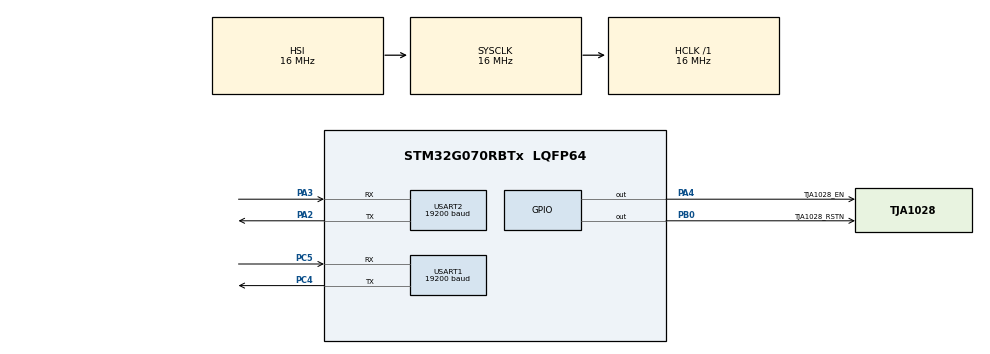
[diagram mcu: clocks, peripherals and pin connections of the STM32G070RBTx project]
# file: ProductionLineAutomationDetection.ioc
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Mcu.Family=STM32G0
Mcu.Name=STM32G070RBTx
Mcu.Package=LQFP64
NVIC.USART1_IRQn=true\:0\:0\:false\:false\:true\:true\:true\:true
NVIC.USART2_IRQn=true\:0\:0\:false\:false\:true\:true\:true\:true
PA13.Mode=Serial_Wire
PA13.Signal=SYS_SWDIO
PA14-BOOT0.Mode=Serial_Wire
PA14-BOOT0.Signal=SYS_SWCLK
PA2.Mode=LIN
PA2.Signal=USART2_TX
PA3.Mode=LIN
PA3.Signal=USART2_RX
PA4.GPIO_Label=TJA1028_EN
PA4.Signal=GPIO_Output
PB0.GPIO_Label=TJA1028_RSTN
PB0.Signal=GPIO_Output
PC4.Mode=Asynchronous
PC4.Signal=USART1_TX
PC5.Mode=Asynchronous
PC5.Signal=USART1_RX
ProjectManager.HeapSize=0x200
ProjectManager.StackSize=0x400
ProjectManager.TargetToolchain=STM32CubeIDE
RCC.AHBFreq_Value=16000000
RCC.CortexFreq_Value=16000000
RCC.EXTERNAL_CLOCK_VALUE=48000
RCC.HCLKFreq_Value=16000000
RCC.HSE_VALUE=8000000
RCC.HSI_VALUE=16000000
RCC.LSE_VALUE=32768
RCC.SYSCLKFreq_VALUE=16000000
RCC.VCOOutputFreq_Value=128000000
USART1.BaudRate=19200
USART1.VirtualMode-Asynchronous=VM_ASYNC
USART2.BaudRate=19200
USART2.VirtualMode-LIN=VM_LIN
VP_SYS_VS_DBSignals.Mode=DisableDeadBatterySignals
board=custom

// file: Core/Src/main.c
/* USER CODE BEGIN Header */
/**
  ******************************************************************************
  * @file           : main.c
  * @brief          : Main program body
  ******************************************************************************
  * @attention
  *
  * Copyright (c) 2023 STMicroelectronics.
  * All rights reserved.
  *
  * This software is licensed under terms that can be found in the LICENSE file
  * in the root directory of this software component.
  * If no LICENSE file comes with this software, it is provided AS-IS.
  *
  ******************************************************************************
  */
/* USER CODE END Header */
#include "main.h"
#include "usart.h"
#include "gpio.h"

/* USER CODE BEGIN Includes */
#include "lin_usart2.h"
#include "rs232_usart1.h"
#include <string.h>
/* USER CODE END Includes */

/* USER CODE BEGIN PV */
uint8_t LINRevByte = 0;
uint8_t pLINRevByte = 0;
uint8_t LINRxFlag = 0;
uint8_t LINRxLength = 0;
uint8_t RS232RevByte = 0;
uint8_t pRS232RevByte = 0;
uint8_t RS232RxFlag = 0;
uint8_t RS232RxLength = 0;
/* USER CODE END PV */

void SystemClock_Config(void);
/* USER CODE BEGIN PFP */
#ifdef __GNUC__
#define PUTCHAR_PROTOTYPE int __io_putchar(int ch)
#else
#define PUTCHAR_PROTOTYPE int fputc(int ch, FILE *f)
#endif

PUTCHAR_PROTOTYPE
{
  HAL_UART_Transmit(&huart1, (uint8_t *)&ch, 1, HAL_MAX_DELAY);
  return ch;
}
/* USER CODE END PFP */

int main(void)
{

  /* MCU Configuration--------------------------------------------------------*/

  /* Reset of all peripherals, Initializes the Flash interface and the Systick. */
  HAL_Init();

  /* Configure the system clock */
  SystemClock_Config();

  /* USER CODE BEGIN SysInit */
    //解决断电后重新上电，程序运行异常的问题
    //原因：在程序刚开始时加上一个延时，因为外设上电时间不够，所以加个延时，等待外设上电，再进行初始化
//    HAL_Delay(700);
  /* USER CODE END SysInit */

  /* Initialize all configured peripherals */
  MX_GPIO_Init();
  MX_USART1_UART_Init();
  MX_USART2_UART_Init();
  /* USER CODE BEGIN 2 */
  //清除串口空闲中断
  __HAL_UART_CLEAR_IDLEFLAG(&huart1);
  //打开串口空闲中断
  __HAL_UART_ENABLE_IT(&huart1,UART_IT_IDLE);
  //开启中断接收
  Util_Receive_IT(&huart1);
  //一定要先清除串口空闲中断，然后在打开串口空闲中断，因为串口初始化完成后会自动将IDLE置位，
  // 导致还没有接受数据就进入到中断里面去了，所以打开IDLE之前，先把它清楚掉
  //清除串口空闲中断
  __HAL_UART_CLEAR_IDLEFLAG(&huart2);
  //打开串口空闲中断
  __HAL_UART_ENABLE_IT(&huart2,UART_IT_IDLE);
  Util_Receive_IT(&huart2);
  //使能TJA1028LIN芯片的EN
  HAL_GPIO_WritePin(TJA1028_EN_GPIO_Port,TJA1028_EN_Pin,GPIO_PIN_SET);
  //使能TJA1028LIN芯片的RSTN
  HAL_GPIO_WritePin(TJA1028_RSTN_GPIO_Port,TJA1028_RSTN_Pin,GPIO_PIN_SET);

  //测试
//  pRS232RxBuff[0] = 0x00;
//  pRS232RxBuff[1] = 0x01;
//  pRS232RxBuff[2] = 0x4a;
//  RS232_To_LIN(pRS232RxBuff);
  //测试 end

  /* USER CODE END 2 */

  /* Infinite loop */
  while (1)
  {
      //循环发送数据
      Send_LIN_Data();
      if (LINRxFlag)
      {
          LIN_Data_Process(LINRxLength);
          LINRxFlag = 0;
      }
      if (RS232RxFlag && RS232RxLength == RS232_MAXSIZE && pRS232RxBuff[RS232_MAXSIZE - 1] == 0x0D)
      {
          HAL_UART_Transmit(&huart1, pRS232RxBuff, RS232_MAXSIZE, HAL_MAX_DELAY);
          RS232_To_LIN(pRS232RxBuff);
          memset(pRS232RxBuff,0,RS232_MAXSIZE);
          RS232RxFlag = 0;
      }
  }
}

void SystemClock_Config(void)
{
  RCC_OscInitTypeDef RCC_OscInitStruct = {0};
  RCC_ClkInitTypeDef RCC_ClkInitStruct = {0};

  /** Configure the main internal regulator output voltage
  */
  HAL_PWREx_ControlVoltageScaling(PWR_REGULATOR_VOLTAGE_SCALE1);

  /** Initializes the RCC Oscillators according to the specified parameters
  * in the RCC_OscInitTypeDef structure.
  */
  RCC_OscInitStruct.OscillatorType = RCC_OSCILLATORTYPE_HSI;
  RCC_OscInitStruct.HSIState = RCC_HSI_ON;
  RCC_OscInitStruct.HSIDiv = RCC_HSI_DIV1;
  RCC_OscInitStruct.HSICalibrationValue = RCC_HSICALIBRATION_DEFAULT;
  RCC_OscInitStruct.PLL.PLLState = RCC_PLL_NONE;
  if (HAL_RCC_OscConfig(&RCC_OscInitStruct) != HAL_OK)
  {
    Error_Handler();
  }

  /** Initializes the CPU, AHB and APB buses clocks
  */
  RCC_ClkInitStruct.ClockType = RCC_CLOCKTYPE_HCLK|RCC_CLOCKTYPE_SYSCLK
                              |RCC_CLOCKTYPE_PCLK1;
  RCC_ClkInitStruct.SYSCLKSource = RCC_SYSCLKSOURCE_HSI;
  RCC_ClkInitStruct.AHBCLKDivider = RCC_SYSCLK_DIV1;
  RCC_ClkInitStruct.APB1CLKDivider = RCC_HCLK_DIV1;

  if (HAL_RCC_ClockConfig(&RCC_ClkInitStruct, FLASH_LATENCY_0) != HAL_OK)
  {
    Error_Handler();
  }
}

/* USER CODE BEGIN 4 */
/**
 * 重写接收中断函数
 */
void Util_Receive_IT(UART_HandleTypeDef *huart)
{
	if(huart == &huart2)
	{
        if(HAL_UART_Receive_IT(huart, &LINRevByte, 1) != HAL_OK)
        {
            Error_Handler();
        }
	}
	else if(huart == &huart1)
	{
		if(HAL_UART_Receive_IT(huart, &RS232RevByte, 1) != HAL_OK)
		{
			Error_Handler();
		}
	}
}

/**
 * 接收完成中断函数，用以在一帧数据接收完成时，对数据进行处理
 *
 * @brief Rx Transfer completed callback.
 * @param huart UART handle.
 * @retval None
 */
void HAL_UART_RxCpltCallback(UART_HandleTypeDef *huart)
{
	//LIN协议
	if(huart == &huart2)
	{
        if (pLINRevByte < LIN_RX_MAXSIZE)
        {
            pLINRxBuff[pLINRevByte] = LINRevByte;
        }
        pLINRevByte++;
	}
	//RS232协议
	else if(huart == &huart1)
	{
        if (pRS232RevByte < RS232_MAXSIZE)
        {
            pRS232RxBuff[pRS232RevByte] = RS232RevByte;
        }
        pRS232RevByte++;
	}
	Util_Receive_IT(huart);
}

//串口空闲中断
void UART_IDLECallBack(UART_HandleTypeDef *huart)
{
    if(huart == &huart2)
    {
        if((__HAL_UART_GET_FLAG(huart,UART_FLAG_IDLE) != RESET))
        {
            __HAL_UART_CLEAR_IDLEFLAG(&huart2);//清除标志位
            LINRxFlag = 1;
            LINRxLength = pLINRevByte;
            pLINRevByte = 0;
        }
    }
    else if (huart == &huart1)
    {
        if((__HAL_UART_GET_FLAG(huart,UART_FLAG_IDLE) != RESET))
        {
            __HAL_UART_CLEAR_IDLEFLAG(&huart1);//清除标志位
            RS232RxFlag = 1;
            RS232RxLength = pRS232RevByte;
            pRS232RevByte = 0;
        }
    }
}

/**
 * 重写UART错误中断处理程序，重新开启USART中断
 *
 * @brief UART error callback.
 * @param huart UART handle.
 * @retval None
 */
void HAL_UART_ErrorCallback(UART_HandleTypeDef *huart)
{
	/* Prevent unused argument(s) compilation warning */
	//解决串口溢出，导致不断进入串口中断函数，使MCU过载的问题
	if(HAL_UART_GetError(huart) & HAL_UART_ERROR_ORE)
	{
		//清除ORE标志位
		__HAL_UART_FLUSH_DRREGISTER(huart);
		Util_Receive_IT(huart);
		huart->ErrorCode = HAL_UART_ERROR_NONE;
	}
}
/* USER CODE END 4 */

void Error_Handler(void)
{
  __disable_irq();
  while (1)
  {
  }
}
